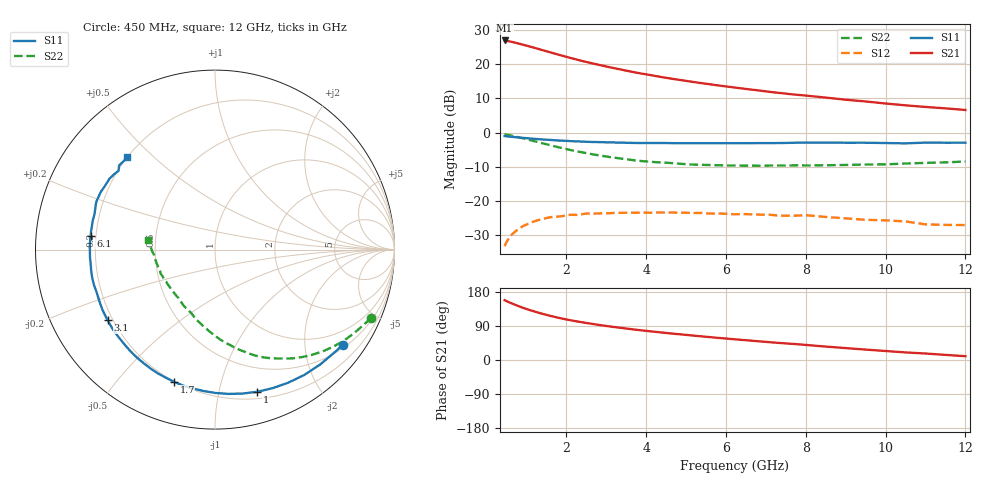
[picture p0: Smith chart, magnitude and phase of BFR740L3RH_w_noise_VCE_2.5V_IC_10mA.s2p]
! (c) 2012  Infineon Technologies AG, Munich
! Infineon Technologies  Discrete & RF Semiconductors
! BFR740L3RH
! VCE =  2.5 V,  IC =  10 mA
! Common Emitter S-Parameters:  May 2012
# GHz  S  MA  R  50
!  f  S11  S21  S12  S22
! GHz  MAG  ANG  MAG  ANG  MAG  ANG  MAG  ANG
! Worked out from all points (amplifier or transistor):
!   85 points, 450 MHz to 12 GHz, reference 50 ohm
!   highest |S21| = 27.0 dB at 450 MHz (marker M1)
!   |S21| within 3 dB of that: start of sweep to 1.448 GHz
!   unconditionally stable (mu >= 1): 8.198 GHz to end of sweep
!   at 1.8 GHz: K = 0.18, MSG = 23.8 dB, |S12| = -24.7 dB
!   at 4.6 GHz: K = 0.49, MSG = 19.7 dB, |S12| = -23.5 dB
!   at 12 GHz: K = 2.23, MAG = 10.6 dB, |S12| = -27.2 dB
!   lowest NFmin = 0.59 dB at 450 MHz
!   S11 on the Smith chart (normalised r, x): 450 MHz: 0.58, -2.92; 1 GHz: 0.26, -1.31; 1.7 GHz: 0.20, -0.72; 3.1 GHz: 0.18, -0.29; 6.1 GHz: 0.18, +0.05; 12 GHz: 0.20, +0.41
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0.45  0.888 -36.6  22.44 157.8  0.0215 73.9  0.949 -23.7
0.6  0.8679 -47.5  21.57 150.5  0.0306 62.2  0.9053 -30.8
0.7  0.8575 -54.6  20.93 146.2  0.0346 59.5  0.8792 -35.3
0.8  0.8462 -61.3  20.23 142.1  0.0385 55.8  0.8518 -39.5
1  0.8262 -73.5  18.83 134.6  0.0447 49.8  0.7979 -47.3
1.2  0.8078 -84.5  17.49 127.9  0.0499 44.2  0.745 -54.4
1.3  0.799 -89.7  16.82 124.8  0.052 42.2  0.7193 -57.6
1.5  0.784 -98.9  15.58 119.1  0.0557 37.4  0.6729 -63.8
1.7  0.7711 -107.3  14.43 113.9  0.058 34.2  0.6293 -69.5
2  0.7539 -118.3  12.9 107.0  0.0609 29.0  0.5711 -76.8
2.4  0.7356 -130.3  11.21 99.4  0.0634 24.2  0.511 -85.3
2.7  0.7256 -137.7  10.19 94.4  0.0646 20.0  0.4739 -90.9
3.1  0.7157 -146.6  9.04 88.4  0.0655 17.2  0.4355 -97.7
3.7  0.7034 -157.5  7.67 80.4  0.0667 13.0  0.3917 -107.4
4.3  0.7019 -166.0  6.645 73.5  0.067 9.4  0.3656 -115.1
5.3  0.6971 -178.6  5.391 63.2  0.0661 5.2  0.3368 -127.9
6.1  0.6973 173.6  4.667 55.7  0.0637 2.3  0.329 -137.4
6.3  0.698 171.6  4.51 53.9  0.0633 1.8  0.3277 -139.6
7.2  0.7 163.9  3.886 46.1  0.0613 -1.4  0.3279 -149.8
8.5  0.7128 153.1  3.257 35.4  0.0577 -4.8  0.3312 -163.1
10.5  0.6938 140.8  2.507 20.0  0.0496 -4.4  0.3508 -178.6
12  0.7086 133.5  2.144 10.0  0.0439 5.0  0.3756 171.9
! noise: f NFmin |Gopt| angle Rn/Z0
0.45  0.59  0.25  4  0.12
0.9  0.6  0.25  15  0.12
1.5  0.61  0.26  33  0.1
1.9  0.63  0.27  43  0.11
2.4  0.65  0.3  52  0.1
3.5  0.71  0.29  72  0.1
5.5  0.86  0.31  103  0.09
8  1.06  0.33  142  0.08
10  1.24  0.35  168  0.07
12  1.41  0.39  -158  0.07
